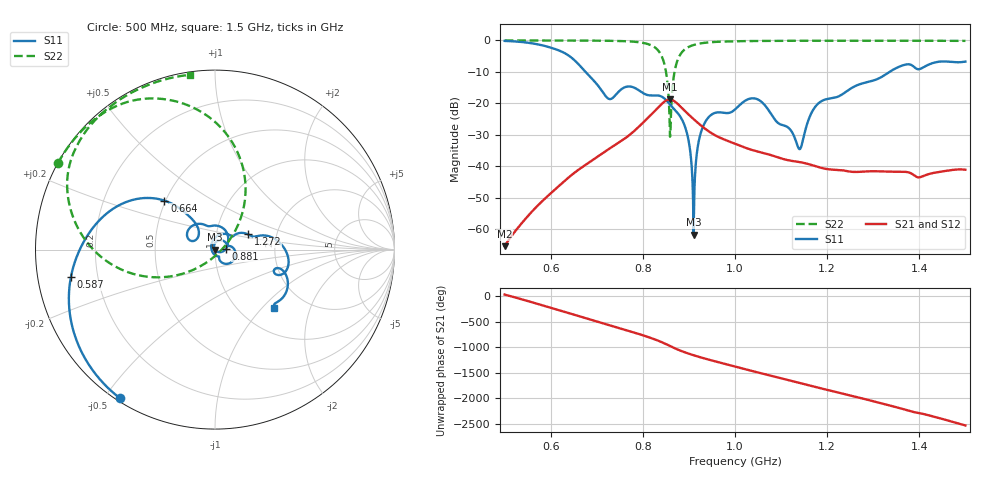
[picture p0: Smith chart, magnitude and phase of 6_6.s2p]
! TOUCHSTONE file generated by CST MICROWAVE STUDIO
! Date and time: Fri Oct  2 18:55:21 2020
! Project name: Scenario_1_Free_Space_out_of_line.cst
! Parameters = {Lambda=346.42; Step_1=17.321; dy1=260.935; dx1=1039; L_HA=400; MT=2.54; Rad_Dielectric=30; Rad_Lower=7.3; Rad_Upper=30; a_HA=580; a_WG=246; b_HA=500; b_WG=121; c_HA=0; c_WG=187; d_feed=85; h_feed=15; h_lower=18; h_upper=40}
! Header version: 2018
! Port assignment regex: !\s*Touchstone port\s*([0-9]+)\s*=\s*(CST MWS port|CST DS port)\s*([0-9]+|Zmin|Zmax)\s*\(\"(.*)\"\)(\s*mode\s*([0-9]+))?.*
! Touchstone port assignment:
! Touchstone port 1 = CST MWS port 1 ("")
! Touchstone port 2 = CST MWS port 2 ("")
# GHz S DB R 50
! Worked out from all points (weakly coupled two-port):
!   1003 points, 500 MHz to 1.5 GHz, reference 50 ohm
!   highest |S21| = -18.78 dB at 858 MHz (marker M1); lowest = -65.4 dB at 500 MHz (marker M2)
!   lowest |S11| = -61.8 dB at 910 MHz (marker M3), VSWR 1.00, Z = 50 - j0.0725 ohm
!   |S11| at or under -10 dB: 675.6 MHz to 1.335 GHz (659.7 MHz wide, 65.6 % of centre)
!   |S22| runs from -30.7 to 0.0 dB; largest |S21 - S12| = 6.1e-05
!   S11 on the Smith chart (normalised r, x): 500 MHz: 0.01, -0.55; 587 MHz: 0.10, -0.09; 664 MHz: 0.49, +0.32; 881 MHz: 1.13, +0.01; 1.272 GHz: 1.42, +0.25; 1.5 GHz: 1.42, -1.16
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0.5  -0.15 -122.5  -65.45 35.3  -65.45 35.3  -0.01 151.2
0.587  -1.75 -169.1  -50.39 169.8  -50.38 169.8  -0.02 145.1
0.664  -8.13 135.9  -40.76 -37.1  -40.76 -37.1  -0.04 138.7
0.667  -8.61 134.5  -40.45 -45.3  -40.45 -45.3  -0.04 138.4
0.726  -18.58 142.6  -34.56 156.3  -34.56 156.2  -0.12 131.4
0.791  -15.83 117.8  -27.49 -18.6  -27.49 -18.6  -0.56 116.7
0.834  -17.53 81.6  -21.23 -153.9  -21.23 -153.9  -3.33 87.4
0.848  -18.62 57.3  -19.35 151.6  -19.35 151.6  -8.33 63.6
0.858  -20.22 41.0  -18.78 108.1  -18.78 108.1  -25.18 17.6
0.869  -22.03 25.6  -19.38 60.5  -19.38 60.5  -9.81 -151.7
0.881  -24.17 5.4  -20.94 14.4  -20.94 14.4  -4.54 -172.7
0.898  -30.94 -30.8  -23.39 -41.5  -23.39 -41.5  -2.17 170.5
0.91  -61.84 -116.3  -25.02 -77.0  -25.02 -77.0  -1.46 163.2
0.921  -32.29 102.5  -26.43 -107.6  -26.43 -107.6  -1.06 158.3
0.935  -26.04 74.0  -28.08 -144.1  -28.08 -144.1  -0.74 153.4
1  -21.96 15.0  -32.87 59.8  -32.87 59.8  -0.27 140.4
1.052  -18.97 -41.3  -35.45 -61.2  -35.45 -61.2  -0.17 134.4
1.14  -34.60 -158.6  -38.70 97.1  -38.70 97.1  -0.10 126.5
1.167  -22.76 83.7  -39.66 34.1  -39.66 34.1  -0.10 124.3
1.272  -13.87 24.8  -41.79 163.3  -41.79 163.4  -0.08 116.3
1.334  -10.12 13.7  -41.74 18.9  -41.75 18.9  -0.09 111.6
1.5  -6.73 -44.5  -41.13 -17.3  -41.10 -17.0  -0.14 98.1
